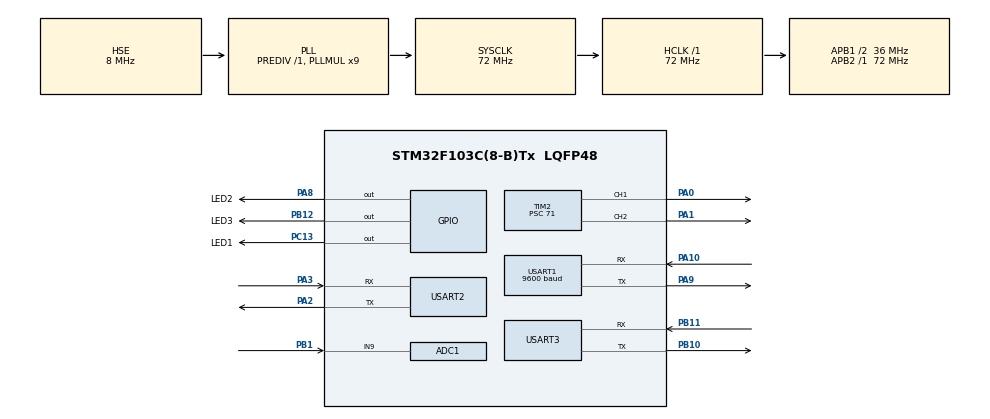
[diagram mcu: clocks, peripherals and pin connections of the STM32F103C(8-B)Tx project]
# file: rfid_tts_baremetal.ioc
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ADC1.Channel-0\#ChannelRegularConversion=ADC_CHANNEL_9
ADC1.ContinuousConvMode=ENABLE
ADC1.NbrOfConversionFlag=1
ADC1.Rank-0\#ChannelRegularConversion=1
ADC1.SamplingTime-0\#ChannelRegularConversion=ADC_SAMPLETIME_1CYCLE_5
ADC1.master=1
Mcu.Family=STM32F1
Mcu.Name=STM32F103C(8-B)Tx
Mcu.Package=LQFP48
NVIC.PriorityGroup=NVIC_PRIORITYGROUP_4
NVIC.USART1_IRQn=true\:5\:0\:true\:false\:true\:true\:true\:true
NVIC.USART2_IRQn=true\:5\:0\:true\:false\:true\:true\:true\:true
PA0-WKUP.Signal=S_TIM2_CH1_ETR
PA1.Signal=S_TIM2_CH2
PA10.Mode=Asynchronous
PA10.Signal=USART1_RX
PA13.Mode=Serial_Wire
PA13.Signal=SYS_JTMS-SWDIO
PA14.Mode=Serial_Wire
PA14.Signal=SYS_JTCK-SWCLK
PA2.Mode=Asynchronous
PA2.Signal=USART2_TX
PA3.Mode=Asynchronous
PA3.Signal=USART2_RX
PA8.GPIO_Label=LED2
PA8.GPIO_PuPd=GPIO_PULLUP
PA8.GPIO_Speed=GPIO_SPEED_FREQ_HIGH
PA8.PinState=GPIO_PIN_SET
PA8.Signal=GPIO_Output
PA9.Mode=Asynchronous
PA9.Signal=USART1_TX
PB1.Signal=ADCx_IN9
PB10.Mode=Asynchronous
PB10.Signal=USART3_TX
PB11.Mode=Asynchronous
PB11.Signal=USART3_RX
PB12.GPIO_Label=LED3
PB12.GPIO_PuPd=GPIO_PULLUP
PB12.GPIO_Speed=GPIO_SPEED_FREQ_HIGH
PB12.PinState=GPIO_PIN_SET
PB12.Signal=GPIO_Output
PC13-TAMPER-RTC.GPIO_Label=LED1
PC13-TAMPER-RTC.GPIO_PuPd=GPIO_PULLUP
PC13-TAMPER-RTC.GPIO_Speed=GPIO_SPEED_FREQ_HIGH
PC13-TAMPER-RTC.PinState=GPIO_PIN_SET
PC13-TAMPER-RTC.Signal=GPIO_Output
PD0-OSC_IN.Mode=HSE-External-Oscillator
PD0-OSC_IN.Signal=RCC_OSC_IN
PD1-OSC_OUT.Mode=HSE-External-Oscillator
PD1-OSC_OUT.Signal=RCC_OSC_OUT
ProjectManager.HeapSize=0x200
ProjectManager.StackSize=0x400
ProjectManager.TargetToolchain=CMake
RCC.ADCPresc=RCC_ADCPCLK2_DIV6
RCC.AHBFreq_Value=72000000
RCC.APB1CLKDivider=RCC_HCLK_DIV2
RCC.APB1Freq_Value=36000000
RCC.APB1TimFreq_Value=72000000
RCC.APB2Freq_Value=72000000
RCC.APB2TimFreq_Value=72000000
RCC.HCLKFreq_Value=72000000
RCC.PLLMUL=RCC_PLL_MUL9
RCC.PLLSourceVirtual=RCC_PLLSOURCE_HSE
RCC.SYSCLKFreq_VALUE=72000000
RCC.SYSCLKSource=RCC_SYSCLKSOURCE_PLLCLK
RCC.USBFreq_Value=72000000
SH.ADCx_IN9.0=ADC1_IN9,IN9
SH.S_TIM2_CH1_ETR.0=TIM2_CH1,PWM Generation1 CH1
SH.S_TIM2_CH2.0=TIM2_CH2,PWM Generation2 CH2
TIM2.Channel-PWM\ Generation1\ CH1=TIM_CHANNEL_1
TIM2.Channel-PWM\ Generation2\ CH2=TIM_CHANNEL_2
TIM2.OC1Preload_PWM=DISABLE
TIM2.OCFastMode_PWM-PWM\ Generation1\ CH1=TIM_OCFAST_ENABLE
TIM2.OCMode_PWM-PWM\ Generation1\ CH1=TIM_OCMODE_PWM2
TIM2.Period=999
TIM2.Prescaler=71
USART1.BaudRate=9600
USART1.VirtualMode=VM_ASYNC
USART2.VirtualMode=VM_ASYNC
USART3.VirtualMode=VM_ASYNC
board=custom

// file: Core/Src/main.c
/* USER CODE BEGIN Header */
/**
  ******************************************************************************
  * @file           : main.c
  * @brief          : Main program body
  ******************************************************************************
  * @attention
  *
  * Copyright (c) 2026 STMicroelectronics.
  * All rights reserved.
  *
  * This software is licensed under terms that can be found in the LICENSE file
  * in the root directory of this software component.
  * If no LICENSE file comes with this software, it is provided AS-IS.
  *
  ******************************************************************************
  */
/* USER CODE END Header */
#include "main.h"
#include "adc.h"
#include "tim.h"
#include "usart.h"
#include "gpio.h"

/* USER CODE BEGIN Includes */
#include "BSP_USART.h"
#include "led.h"
#include "PWM.h"
#include "Card.h"
#include "Debug.h"
#include "rfid_process.h"
#include "motor_process.h"
#include "nvs_params.h"
#include "param_cli.h"
#include "isp_jump.h"
/* USER CODE END Includes */

void SystemClock_Config(void);

/* USER CODE BEGIN 0 */
extern uint8_t card_res;
/* USER CODE END 0 */

int main(void)
{

  /* MCU Configuration--------------------------------------------------------*/

  /* Reset of all peripherals, Initializes the Flash interface and the Systick. */
  HAL_Init();

  /* Configure the system clock */
  SystemClock_Config();

  /* Initialize all configured peripherals */
  MX_GPIO_Init();
  MX_ADC1_Init();
  MX_TIM2_Init();
  MX_USART1_UART_Init();
  MX_USART2_UART_Init();
  MX_USART3_UART_Init();
  /* USER CODE BEGIN 2 */
  LED_Sta( 0 );                 /* LED 初始化熄灭 */
  PWM_Init();                   /* 启动 PWM */
  Motor_Control( 0 );           /* 电机初始速度 0 */
  Dbg_Init();                   /* 数据输出串口（输出 [SYS] boot） */
  params_init();                /* 读 Flash 末页参数（失败回落默认，须先于 Motor_Init） */
  params_apply();               /* 注入电机时序+触发词规则 */
  ParamCli_Init();              /* 使能 USART3 接收（串口配置模式） */
  Motor_Init();                 /* 电位器采样 + 电机参数初始化（阻塞约20ms） */
  RFID_Init();                  /* TTS 设置 + 读卡参数初始化（阻塞约0.9s） */
  /* 读卡串口接收中断已在 usart.c USART1_Init 2 区使能（防 ORE），此处不再重复 */
  /* USER CODE END 2 */

  /* Infinite loop */
  /* USER CODE BEGIN WHILE */
  while (1)
  {
    RFID_Process();    /* 读卡、播报、LED、去重、触发（非阻塞状态机） */
    Motor_Process();   /* 电机时序（非阻塞状态机） */
    ParamCli_Poll();   /* 串口配置模式行解析 */
    if( ParamCli_ShouldEnterIsp() )   /* ISP 命令：留足应答时间后软跳 Bootloader */
    {
      HAL_Delay(100);
      ISP_Enter();
    }
    /* USER CODE END WHILE */

  }
}

void SystemClock_Config(void)
{
  RCC_OscInitTypeDef RCC_OscInitStruct = {0};
  RCC_ClkInitTypeDef RCC_ClkInitStruct = {0};
  RCC_PeriphCLKInitTypeDef PeriphClkInit = {0};

  /** Initializes the RCC Oscillators according to the specified parameters
  * in the RCC_OscInitTypeDef structure.
  */
  RCC_OscInitStruct.OscillatorType = RCC_OSCILLATORTYPE_HSE;
  RCC_OscInitStruct.HSEState = RCC_HSE_ON;
  RCC_OscInitStruct.HSEPredivValue = RCC_HSE_PREDIV_DIV1;
  RCC_OscInitStruct.HSIState = RCC_HSI_ON;
  RCC_OscInitStruct.PLL.PLLState = RCC_PLL_ON;
  RCC_OscInitStruct.PLL.PLLSource = RCC_PLLSOURCE_HSE;
  RCC_OscInitStruct.PLL.PLLMUL = RCC_PLL_MUL9;
  if (HAL_RCC_OscConfig(&RCC_OscInitStruct) != HAL_OK)
  {
    Error_Handler();
  }

  /** Initializes the CPU, AHB and APB buses clocks
  */
  RCC_ClkInitStruct.ClockType = RCC_CLOCKTYPE_HCLK|RCC_CLOCKTYPE_SYSCLK
                              |RCC_CLOCKTYPE_PCLK1|RCC_CLOCKTYPE_PCLK2;
  RCC_ClkInitStruct.SYSCLKSource = RCC_SYSCLKSOURCE_PLLCLK;
  RCC_ClkInitStruct.AHBCLKDivider = RCC_SYSCLK_DIV1;
  RCC_ClkInitStruct.APB1CLKDivider = RCC_HCLK_DIV2;
  RCC_ClkInitStruct.APB2CLKDivider = RCC_HCLK_DIV1;

  if (HAL_RCC_ClockConfig(&RCC_ClkInitStruct, FLASH_LATENCY_2) != HAL_OK)
  {
    Error_Handler();
  }
  PeriphClkInit.PeriphClockSelection = RCC_PERIPHCLK_ADC;
  PeriphClkInit.AdcClockSelection = RCC_ADCPCLK2_DIV6;
  if (HAL_RCCEx_PeriphCLKConfig(&PeriphClkInit) != HAL_OK)
  {
    Error_Handler();
  }
}

void Error_Handler(void)
{
  __disable_irq();
  while (1)
  {
  }
}
